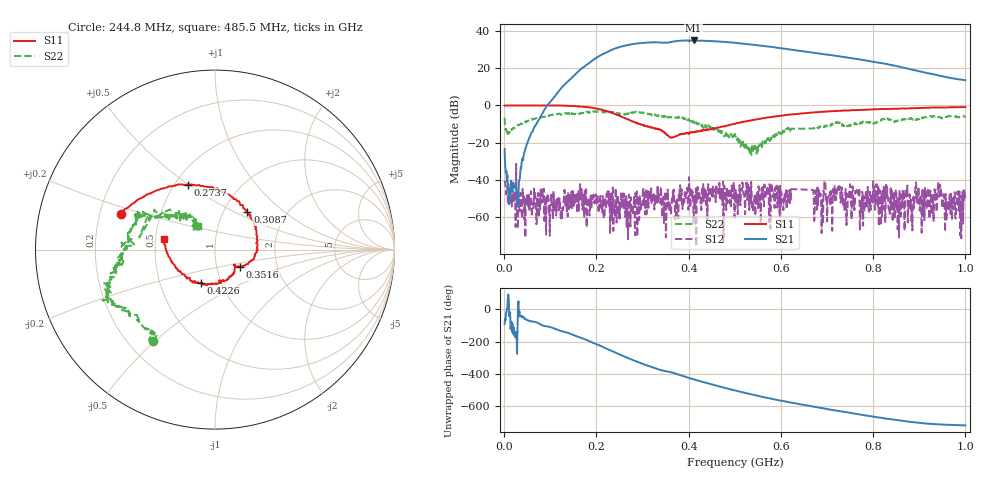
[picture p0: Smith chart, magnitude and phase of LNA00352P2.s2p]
! Created with skrf 1.9.0 (http://scikit-rf.org).
# Hz S RI R 50.0
!freq ReS11 ImS11 ReS21 ImS21 ReS12 ImS12 ReS22 ImS22
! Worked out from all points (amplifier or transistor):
!   954 points, 1 MHz to 1 GHz, reference 50 ohm
!   highest |S21| = 34.8 dB at 410.6 MHz (marker M1)
!   |S21| within 3 dB of that: 258.6 MHz to 563.4 MHz (304.9 MHz wide, 74.2 % of centre)
!   unconditionally stable (mu >= 1): start of sweep to 67.85 MHz; 201.9 MHz to 213.7 MHz; 236 MHz to end of sweep (the widest 3 of 39)
!   at 159.8 MHz: K = 0.50, MSG = 32.7 dB, |S12| = -47.3 dB
!   at 477.5 MHz: K = 1.45, MAG = 34.6 dB, |S12| = -43.1 dB
!   at 1 GHz: K = 4.37, MAG = 22.3 dB, |S12| = -49.7 dB
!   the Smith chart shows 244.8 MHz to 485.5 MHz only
!   S11 on the Smith chart (normalised r, x): 244.8 MHz: 0.29, +0.17; 273.7 MHz: 0.58, +0.50; 308.7 MHz: 1.29, +0.58; 351.6 MHz: 1.29, -0.25; 422.6 MHz: 0.81, -0.31; 485.5 MHz: 0.55, +0.07
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1000000  0.9825 0.00109  -0.000607 -0.0675  -0.00244 -0.00802  0.3397 0.3154
1.07893e8  0.5189 -0.8515  -0.7533 -1.455  -0.000508 0.00143  0.4306 -0.3778
1.67833e8  -0.2604 -0.8953  -9.723 -0.4233  0.00534 0.00192  0.0299 -0.6347
2.09791e8  -0.6904 -0.359  -15.03 16.5  0.000661 0.00157  -0.228 -0.6325
2.44756e8  -0.5214 0.1972  1.669 35.04  0.00065 -0.00334  -0.3455 -0.5102
2.73727e8  -0.1528 0.3616  26.96 33.49  0.000546 0.000125  -0.5487 -0.3186
3.08692e8  0.1807 0.2088  47.16 10.77  -0.00101 0.000677  -0.5761 -0.166
3.34666e8  0.2332 -0.0138  47.78 -10.69  -0.00174 0.00382  -0.5169 -0.0463
3.51649e8  0.1375 -0.096  43.56 -20.34  -0.000812 -0.000286  -0.4823 0.0397
3.75625e8  0.1106 -0.1068  39.34 -36.48  0.000149 0.00205  -0.4418 0.174
4.1059e8  -0.0115 -0.1882  15.09 -53.09  0.00018 0.000693  -0.3149 0.1911
4.22578e8  -0.0763 -0.1842  5.677 -54.27  0.00452 -0.00019  -0.2704 0.1906
4.85515e8  -0.2859 0.06  -33.41 -36.51  0.00405 0.00038  -0.0925 0.1288
5.005e8  -0.286 0.1453  -38.5 -28.6  -0.00229 -0.00152  -0.1199 0.1236
5.41459e8  -0.1968 0.3583  -41.65 -6.597  0.000405 -0.00289  -0.0647 -0.0165
5.89411e8  0.0241 0.5093  -33.38 12.55  0.00148 -0.00408  -0.14 -0.0621
6.22378e8  0.1773 0.5427  -24.31 19.63  -0.00568 -6.55e-05  -0.1912 -0.1396
6.7033e8  0.415 0.495  -11.45 23.15  -0.00389 -0.00376  -0.2325 -0.0565
6.74326e8  0.4301 0.4879  -10.43 23.2  -0.00316 -0.000125  -0.238 -0.0541
7.29271e8  0.6172 0.3651  0.8614 20.49  -0.00246 4.28e-05  -0.3066 -0.0739
8.34166e8  0.8036 0.0233  9.615 8.003  -9.88e-06 -0.0016  -0.4112 0.0263
1e9  0.7323 -0.526  4.751 -0.0339  -0.00322 0.000564  -0.3156 0.3973
